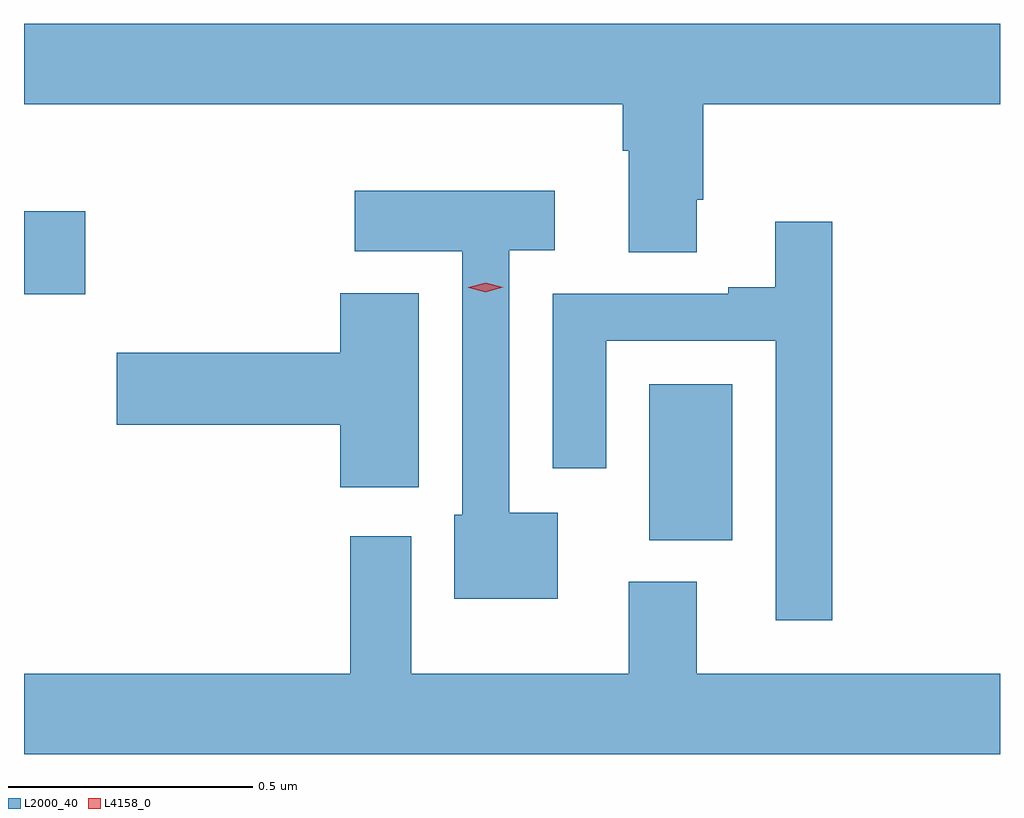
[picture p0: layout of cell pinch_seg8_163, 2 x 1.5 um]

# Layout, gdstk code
import gdstk
lib = gdstk.Library(unit=1e-6, precision=1e-09)
def R(c, l, rs):  # rectangles x0, y0, x1, y1
    for r in rs: c.add(gdstk.rectangle(r[:2], r[2:], *l))
def P(c, l, *ps):  # polygons
    for p in ps: c.add(gdstk.Polygon(p, *l))
L2000_40 = (2000, 40)
L4158_0 = (4158, 0)

pinch_seg8_163 = lib.new_cell('pinch_seg8_163')
R(pinch_seg8_163, L2000_40, [(658.823,1131.59,658.993,1131.91), (657.542,1132.094,657.667,1132.264)])
P(pinch_seg8_163, L2000_40, [(658.921,1132.288),(658.934,1132.288),(658.934,1132.484),(659.542,1132.484),(659.542,1132.648),(657.542,1132.648),(657.542,1132.484),(658.769,1132.484),(658.769,1132.388),(658.781,1132.388),(658.781,1132.18),(658.921,1132.18)],
  [(658.636,1131.646),(658.536,1131.646),(658.536,1132.184),(658.63,1132.184),(658.63,1132.306),(658.22,1132.306),(658.22,1132.182),(658.44,1132.182),(658.44,1131.642),(658.424,1131.642),(658.424,1131.47),(658.636,1131.47)],
  [(659.198,1132.243),(659.081,1132.243),(659.081,1132.108),(658.985,1132.108),(658.985,1132.095),(658.625,1132.095),(658.625,1131.738),(658.735,1131.738),(658.735,1131.999),(659.082,1131.999),(659.082,1131.426),(659.198,1131.426)],
  [(658.351,1132.096),(658.19,1132.096),(658.19,1131.974),(657.732,1131.974),(657.732,1131.827),(658.19,1131.827),(658.19,1131.699),(658.351,1131.699)],
  [(659.542,1131.316),(658.921,1131.316),(658.921,1131.505),(658.781,1131.505),(658.781,1131.316),(658.336,1131.316),(658.336,1131.598),(658.211,1131.598),(658.211,1131.316),(657.542,1131.316),(657.542,1131.152),(659.542,1131.152)])
P(pinch_seg8_163, L4158_0, [(658.488,1132.098),(658.452,1132.107),(658.452,1132.108),(658.452,1132.108),(658.488,1132.118),(658.524,1132.109),(658.524,1132.109),(658.524,1132.109)])

lib.write_gds('pinch_seg8_163.gds')
